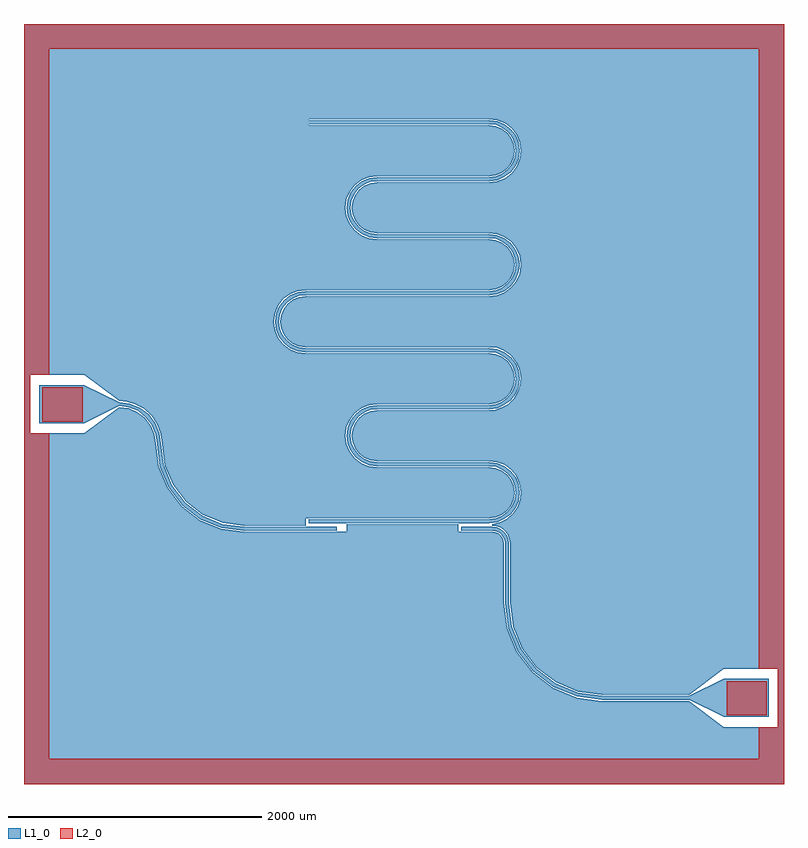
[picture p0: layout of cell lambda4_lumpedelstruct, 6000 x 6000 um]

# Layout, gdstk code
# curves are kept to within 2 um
import gdstk
lib = gdstk.Library(unit=1e-6, precision=1e-09)
def R(c, l, rs):  # rectangles x0, y0, x1, y1
    for r in rs: c.add(gdstk.rectangle(r[:2], r[2:], *l))
def P(c, l, *ps):  # polygons
    for p in ps: c.add(gdstk.Polygon(p, *l))
L1_0 = (1, 0)
L2_0 = (2, 0)

lambda4_lumpedelstruct = lib.new_cell('lambda4_lumpedelstruct')
R(lambda4_lumpedelstruct, L1_0, [(6562.5,-735,7250,-705), (3735.148,600,4467.5,630)])
P(lambda4_lumpedelstruct, L1_0, [(6562.5,-735),(6364.503,-708.933),(6180,-632.509),(6021.563,-510.937),(5899.991,-352.5),(5823.567,-167.997),(5797.5,30),(5797.5,500),(5794.093,525.882),(5784.103,550),(5768.211,570.711),(5747.5,586.603),(5723.382,596.593),(5697.5,600),(5452.5,600),(5452.5,630),(5697.5,630),(5731.146,625.57),(5762.5,612.583),(5789.424,591.924),(5810.083,565),(5823.07,533.646),(5827.5,500),(5827.5,30),(5852.545,-160.232),(5925.971,-337.5),(6042.777,-489.723),(6195,-606.529),(6372.268,-679.955),(6562.5,-705)],
  [(4247.5,660),(4247.5,690),(5672.5,690),(5726.852,697.156),(5777.5,718.135),(5820.992,751.508),(5854.365,795),(5875.344,845.648),(5882.5,900),(5875.344,954.352),(5854.365,1005),(5820.992,1048.492),(5777.5,1081.865),(5726.852,1102.844),(5672.5,1110),(4787.5,1110),(4725.383,1118.178),(4667.5,1142.154),(4617.794,1180.294),(4579.654,1230),(4555.678,1287.883),(4547.5,1350),(4555.678,1412.117),(4579.654,1470),(4617.794,1519.706),(4667.5,1557.846),(4725.383,1581.822),(4787.5,1590),(5672.5,1590),(5726.852,1597.156),(5777.5,1618.135),(5820.992,1651.508),(5854.365,1695),(5875.344,1745.648),(5882.5,1800),(5875.344,1854.352),(5854.365,1905),(5820.992,1948.492),(5777.5,1981.865),(5726.852,2002.844),(5672.5,2010),(4222.5,2010),(4160.867,2018.049),(4103.367,2041.656),(4053.858,2079.237),(4015.661,2128.272),(3991.337,2185.472),(3982.519,2250),(4012.5,2250),(4019.656,2195.648),(4040.635,2145),(4074.008,2101.508),(4117.5,2068.135),(4168.148,2047.156),(4222.5,2040),(5672.5,2040),(5734.617,2031.822),(5792.5,2007.846),(5842.206,1969.706),(5880.346,1920),(5904.322,1862.117),(5912.5,1800),(5904.322,1737.883),(5880.346,1680),(5842.206,1630.294),(5792.5,1592.154),(5734.617,1568.178),(5672.5,1560),(4787.5,1560),(4733.148,1552.844),(4682.5,1531.865),(4639.008,1498.492),(4605.635,1455),(4584.656,1404.352),(4577.5,1350),(4584.656,1295.648),(4605.635,1245),(4639.008,1201.508),(4682.5,1168.135),(4733.148,1147.156),(4787.5,1140),(5672.5,1140),(5734.617,1131.822),(5792.5,1107.846),(5842.206,1069.706),(5880.346,1020),(5904.322,962.117),(5912.5,900),(5904.322,837.883),(5880.346,780),(5842.206,730.294),(5792.5,692.154),(5734.617,668.178),(5672.5,660)],
  [(3982.519,2250),(3991.337,2314.528),(4015.661,2371.728),(4053.858,2420.763),(4103.367,2458.344),(4160.867,2481.951),(4222.5,2490),(5672.5,2490),(5726.852,2497.156),(5777.5,2518.135),(5820.992,2551.508),(5854.365,2595),(5875.344,2645.648),(5882.5,2700),(5875.344,2754.352),(5854.365,2805),(5820.992,2848.492),(5777.5,2881.865),(5726.852,2902.844),(5672.5,2910),(4787.5,2910),(4725.383,2918.178),(4667.5,2942.154),(4617.794,2980.294),(4579.654,3030),(4555.678,3087.883),(4547.5,3150),(4555.678,3212.117),(4579.654,3270),(4617.794,3319.706),(4667.5,3357.846),(4725.383,3381.822),(4787.5,3390),(5672.5,3390),(5726.852,3397.156),(5777.5,3418.135),(5820.992,3451.508),(5854.365,3495),(5875.344,3545.648),(5882.5,3600),(5875.344,3654.352),(5854.365,3705),(5820.992,3748.492),(5777.5,3781.865),(5726.852,3802.844),(5672.5,3810),(4247.5,3810),(4247.5,3840),(5672.5,3840),(5734.617,3831.822),(5792.5,3807.846),(5842.206,3769.706),(5880.346,3720),(5904.322,3662.117),(5912.5,3600),(5904.322,3537.883),(5880.346,3480),(5842.206,3430.294),(5792.5,3392.154),(5734.617,3368.178),(5672.5,3360),(4787.5,3360),(4733.148,3352.844),(4682.5,3331.865),(4639.008,3298.492),(4605.635,3255),(4584.656,3204.352),(4577.5,3150),(4584.656,3095.648),(4605.635,3045),(4639.008,3001.508),(4682.5,2968.135),(4733.148,2947.156),(4787.5,2940),(5672.5,2940),(5734.133,2931.951),(5791.633,2908.344),(5841.142,2870.763),(5879.339,2821.728),(5903.663,2764.528),(5912.481,2703),(5903.663,2635.472),(5879.339,2578.272),(5841.142,2529.237),(5791.633,2491.656),(5734.133,2468.049),(5672.5,2460),(4222.5,2460),(4168.148,2452.844),(4117.5,2431.865),(4074.008,2398.492),(4040.635,2355),(4019.656,2304.352),(4012.5,2250)],
  [(2000,-1400),(2000,1600),(2050,1600),(2050,1370),(2475,1370),(2750,1575),(2825.058,1565.118),(2895,1536.147),(2955.061,1490.061),(3001.147,1430),(3030.118,1360.058),(3063.682,1105.121),(3133.112,937.5),(3243.561,793.561),(3387.5,683.112),(3555.121,613.682),(3735,590),(4547.5,590),(4547.5,650),(5427.5,650),(5427.5,590),(5697.5,590),(5720.794,586.933),(5742.5,577.942),(5761.14,563.64),(5775.442,545),(5784.433,523.294),(5787.5,500),(5787.5,30),(5813.907,-170.585),(5891.33,-357.5),(6014.492,-518.008),(6175,-641.17),(6361.915,-718.593),(6562.5,-745),(7250,-745),(7525,-950),(7950,-950),(7950,-490),(7525,-490),(7250,-695),(6562.5,-695),(6374.856,-670.296),(6200,-597.868),(6049.848,-482.652),(5934.632,-332.5),(5862.204,-157.644),(5837.5,30),(5837.5,500),(5832.73,536.235),(5818.744,570),(5796.495,598.995),(5767.5,621.244),(5733.735,635.23),(5697.5,640),(5697.5,651.253),(5759.074,665.469),(5815.116,694.669),(5862.046,736.99),(5896.865,789.726),(5917.348,849.508),(5922.187,912.516),(5911.071,974.724),(5884.713,1032.158),(5844.795,1081.148),(5793.868,1118.563),(5735.187,1142.013),(5672.5,1150),(4787.5,1150),(4735.736,1156.815),(4687.5,1176.795),(4646.079,1208.579),(4614.295,1250),(4594.315,1298.236),(4587.5,1350),(4594.315,1401.764),(4614.295,1450),(4646.079,1491.421),(4687.5,1523.205),(4735.736,1543.185),(4787.5,1550),(5672.5,1550),(5725.715,1555.729),(5776.491,1572.655),(5822.5,1600),(8000,1600),(8000,-1400)],
  [(3735.139,640),(3568.174,661.948),(3412.58,726.367),(3278.965,828.867),(3176.437,962.46),(3111.984,1118.039),(3080.497,1364.823),(3052.52,1440.183),(3007.631,1506.87),(2948.342,1561.153),(2877.965,1600),(4787.5,1600),(4722.795,1591.481),(4662.5,1566.506),(4610.723,1526.777),(4570.994,1475),(4546.019,1414.705),(4537.5,1350),(4546.019,1285.295),(4570.994,1225),(4610.723,1173.223),(4662.5,1133.494),(4722.795,1108.519),(4787.5,1100),(5672.5,1100),(5724.264,1093.185),(5772.5,1073.205),(5813.921,1041.421),(5845.705,1000),(5865.685,951.764),(5872.5,900),(5865.685,848.236),(5845.705,800),(5813.921,758.579),(5772.5,726.795),(5724.264,706.815),(5672.5,700),(4222.5,700),(4222.5,640)],
  [(2000,1600),(2000,4600),(8000,4600),(8000,1600),(5822.5,1600),(5867.288,1643.291),(5899.983,1696.31),(5918.556,1755.767),(5921.853,1817.97),(5909.671,1879.057),(5882.765,1935.236),(5842.805,1983.02),(5792.273,2019.441),(5734.305,2042.24),(5672.5,2050),(4222.5,2050),(4170.736,2056.815),(4122.5,2076.795),(4081.079,2108.579),(4049.295,2150),(4029.315,2198.236),(4022.5,2250),(4029.315,2301.764),(4049.295,2350),(4081.079,2391.421),(4122.5,2423.205),(4170.736,2443.185),(4222.5,2450),(5672.5,2450),(5736.077,2458.219),(5795.474,2482.336),(5846.784,2520.766),(5886.635,2570.98),(5912.406,2629.678),(5922.402,2707),(5912.406,2770.322),(5886.635,2829.02),(5846.784,2879.234),(5795.474,2917.664),(5736.077,2941.781),(5672.5,2950),(4787.5,2950),(4735.736,2956.815),(4687.5,2976.795),(4646.079,3008.579),(4614.295,3050),(4594.315,3098.236),(4587.5,3150),(4594.315,3201.764),(4614.295,3250),(4646.079,3291.421),(4687.5,3323.205),(4735.736,3343.185),(4787.5,3350),(5672.5,3350),(5737.205,3358.519),(5797.5,3383.494),(5849.277,3423.223),(5889.006,3475),(5913.981,3535.295),(5922.5,3600),(5913.981,3664.705),(5889.006,3725),(5849.277,3776.777),(5797.5,3816.506),(5737.205,3841.481),(5672.5,3850),(4247.5,3850),(4247.5,3800),(5672.5,3800),(5724.264,3793.185),(5772.5,3773.205),(5813.921,3741.421),(5845.705,3700),(5865.685,3651.764),(5872.5,3600),(5865.685,3548.236),(5845.705,3500),(5813.921,3458.579),(5772.5,3426.795),(5724.264,3406.815),(5672.5,3400),(4787.5,3400),(4722.795,3391.481),(4662.5,3366.506),(4610.723,3326.777),(4570.994,3275),(4546.019,3214.705),(4537.5,3150),(4546.019,3085.295),(4570.994,3025),(4610.723,2973.223),(4662.5,2933.494),(4722.795,2908.519),(4787.5,2900),(5672.5,2900),(5724.264,2893.185),(5772.5,2873.205),(5813.921,2841.421),(5845.705,2800),(5865.685,2751.764),(5872.5,2700),(5865.685,2648.236),(5845.705,2600),(5813.921,2558.579),(5772.5,2526.795),(5724.264,2506.815),(5672.5,2500),(4222.5,2500),(4159.084,2491.823),(4099.817,2467.828),(4048.575,2429.583),(4008.71,2379.591),(3982.83,2321.122),(3972.628,2258),(3972.628,2242),(3982.83,2178.878),(4008.71,2120.409),(4048.575,2070.417),(4099.817,2032.172),(4159.084,2008.177),(4222.5,2000),(5672.5,2000),(5724.264,1993.185),(5772.5,1973.205),(5813.921,1941.421),(5845.705,1900),(5865.685,1851.764),(5872.5,1800),(5865.685,1748.236),(5845.705,1700),(5813.921,1658.579),(5772.5,1626.795),(5724.264,1606.815),(5672.5,1600),(2877.965,1600),(2815.192,1618.691),(2750,1625),(2475,1830),(2050,1830),(2050,1600)],
  [(7525,-870),(7250,-735),(7250,-705),(7525,-570),(7880,-570),(7880,-870)],
  [(3050,1285),(3039.778,1362.646),(3009.808,1435),(2962.132,1497.132),(2900,1544.808),(2827.646,1574.778),(2750,1585),(2750,1615),(2835.41,1603.756),(2915,1570.788),(2983.345,1518.345),(3035.788,1450),(3068.756,1370.41),(3080,1285)],
  [(3735.148,600),(3557.828,623.309),(3392.585,691.723),(3250.684,800.58),(3141.797,942.457),(3073.347,1107.685),(3050,1285),(3080,1285),(3102.325,1115.451),(3167.777,957.459),(3271.895,821.795),(3407.582,717.706),(3565.587,652.288),(3735.141,630)],
  [(2120,1450),(2120,1750),(2475,1750),(2750,1615),(2750,1585),(2475,1450)])
R(lambda4_lumpedelstruct, L2_0, [(7546.315,-856.601,7864.711,-587.353), (2145.105,1461.36,2463.501,1730.608)])
P(lambda4_lumpedelstruct, L2_0, [(2000,-1400),(2000,4404.369),(2200.583,4404.369),(2200.583,1830),(2050,1830),(2050,1370),(2200.583,1370),(2200.583,-1201.832),(7800.378,-1201.832),(7800.378,-950),(7950,-950),(7950,-490),(7800.378,-490),(7800.378,4404.369),(2000,4404.369),(2000,4600),(8000,4600),(8000,-1400)])

lib.write_gds('lambda4_lumpedelstruct.gds')
